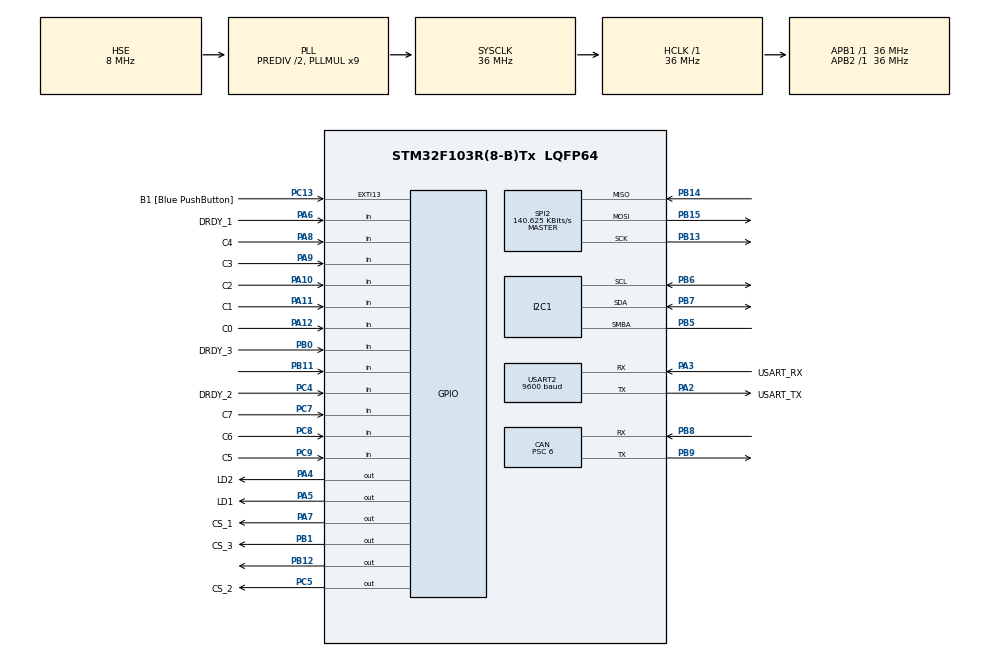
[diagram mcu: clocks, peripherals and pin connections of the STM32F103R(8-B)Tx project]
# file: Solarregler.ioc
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CAN.BS1=CAN_BS1_9TQ
CAN.BS2=CAN_BS2_2TQ
CAN.CalculateTimeBit=2000
CAN.CalculateTimeQuantum=166.66666666666669
CAN.Mode=CAN_MODE_NORMAL
CAN.Prescaler=6
Mcu.Family=STM32F1
Mcu.Name=STM32F103R(8-B)Tx
Mcu.Package=LQFP64
NVIC.CAN1_RX1_IRQn=true\:0\:0\:false\:false\:true\:true
NVIC.CAN1_SCE_IRQn=true\:0\:0\:false\:false\:true\:true
NVIC.PriorityGroup=NVIC_PRIORITYGROUP_4
NVIC.SPI2_IRQn=true\:0\:0\:false\:false\:true\:true
NVIC.TIM2_IRQn=true\:0\:0\:false\:false\:true\:true
NVIC.USART2_IRQn=true\:0\:0\:false\:false\:true\:true
NVIC.USB_HP_CAN1_TX_IRQn=true\:0\:0\:false\:false\:true\:true
NVIC.USB_LP_CAN1_RX0_IRQn=true\:0\:0\:false\:false\:true\:true
PA10.GPIO_Label=C2
PA10.GPIO_PuPd=GPIO_PULLUP
PA10.Signal=GPIO_Input
PA11.GPIO_Label=C1
PA11.GPIO_PuPd=GPIO_PULLUP
PA11.Signal=GPIO_Input
PA12.GPIO_Label=C0
PA12.GPIO_PuPd=GPIO_PULLUP
PA12.Signal=GPIO_Input
PA13.GPIO_Label=TMS
PA13.Mode=JTAG_5_pins
PA13.Signal=SYS_JTMS-SWDIO
PA14.GPIO_Label=TCK
PA14.Mode=JTAG_5_pins
PA14.Signal=SYS_JTCK-SWCLK
PA15.Mode=JTAG_5_pins
PA15.Signal=SYS_JTDI
PA2.GPIO_Label=USART_TX
PA2.GPIO_Mode=GPIO_MODE_AF_PP
PA2.GPIO_PuPd=GPIO_NOPULL
PA2.GPIO_Speed=GPIO_SPEED_FREQ_HIGH
PA2.Mode=Asynchronous
PA2.Signal=USART2_TX
PA3.GPIO_Label=USART_RX
PA3.GPIO_Mode=GPIO_MODE_AF_PP
PA3.GPIO_PuPd=GPIO_NOPULL
PA3.GPIO_Speed=GPIO_SPEED_FREQ_LOW
PA3.Mode=Asynchronous
PA3.Signal=USART2_RX
PA4.GPIO_Label=LD2
PA4.Signal=GPIO_Output
PA5.GPIO_Label=LD1
PA5.GPIO_ModeDefaultOutputPP=GPIO_MODE_OUTPUT_PP
PA5.GPIO_PuPd=GPIO_NOPULL
PA5.GPIO_Speed=GPIO_SPEED_FREQ_LOW
PA5.Signal=GPIO_Output
PA6.GPIO_Label=DRDY_1
PA6.Signal=GPIO_Input
PA7.GPIO_Label=CS_1
PA7.Signal=GPIO_Output
PA8.GPIO_Label=C4
PA8.GPIO_PuPd=GPIO_PULLUP
PA8.Signal=GPIO_Input
PA9.GPIO_Label=C3
PA9.GPIO_PuPd=GPIO_PULLUP
PA9.Signal=GPIO_Input
PB0.GPIO_Label=DRDY_3
PB0.Signal=GPIO_Input
PB1.GPIO_Label=CS_3
PB1.Signal=GPIO_Output
PB11.Signal=GPIO_Input
PB12.Signal=GPIO_Output
PB13.Mode=Full_Duplex_Master
PB13.Signal=SPI2_SCK
PB14.Mode=Full_Duplex_Master
PB14.Signal=SPI2_MISO
PB15.Mode=Full_Duplex_Master
PB15.Signal=SPI2_MOSI
PB3.GPIO_Label=SWO
PB3.Mode=JTAG_5_pins
PB3.Signal=SYS_JTDO-TRACESWO
PB4.Mode=JTAG_5_pins
PB4.Signal=SYS_NJTRST
PB5.Mode=SMBus-Alert-mode
PB5.Signal=I2C1_SMBA
PB6.Mode=SMBus-Alert-mode
PB6.Signal=I2C1_SCL
PB7.Mode=SMBus-Alert-mode
PB7.Signal=I2C1_SDA
PB8.Mode=Master
PB8.Signal=CAN_RX
PB9.Mode=Master
PB9.Signal=CAN_TX
PC13-TAMPER-RTC.GPIO_Label=B1 [Blue PushButton]
PC13-TAMPER-RTC.GPIO_PuPd=GPIO_NOPULL
PC13-TAMPER-RTC.Signal=GPXTI13
PC14-OSC32_IN.Mode=LSE-External-Oscillator
PC14-OSC32_IN.Signal=RCC_OSC32_IN
PC15-OSC32_OUT.Mode=LSE-External-Oscillator
PC15-OSC32_OUT.Signal=RCC_OSC32_OUT
PC4.GPIO_Label=DRDY_2
PC4.Signal=GPIO_Input
PC5.GPIO_Label=CS_2
PC5.Signal=GPIO_Output
PC7.GPIO_Label=C7
PC7.GPIO_PuPd=GPIO_PULLUP
PC7.Signal=GPIO_Input
PC8.GPIO_Label=C6
PC8.GPIO_PuPd=GPIO_PULLUP
PC8.Signal=GPIO_Input
PC9.GPIO_Label=C5
PC9.GPIO_PuPd=GPIO_PULLUP
PC9.Signal=GPIO_Input
PD0-OSC_IN.Mode=HSE-External-Clock-Source
PD0-OSC_IN.Signal=RCC_OSC_IN
PD1-OSC_OUT.Mode=HSE-External-Clock-Source
PD1-OSC_OUT.Signal=RCC_OSC_OUT
ProjectManager.HeapSize=0x200
ProjectManager.StackSize=0x400
ProjectManager.TargetToolchain=MDK-ARM V5
RCC.AHBFreq_Value=36000000
RCC.APB1Freq_Value=36000000
RCC.APB1TimFreq_Value=36000000
RCC.APB2Freq_Value=36000000
RCC.APB2TimFreq_Value=36000000
RCC.HCLKFreq_Value=36000000
RCC.HSEDivPLL=RCC_HSE_PREDIV_DIV2
RCC.PLLMUL=RCC_PLL_MUL9
RCC.PLLSourceVirtual=RCC_PLLSOURCE_HSE
RCC.RTCClockSelection=RCC_RTCCLKSOURCE_LSE
RCC.SYSCLKFreq_VALUE=36000000
RCC.SYSCLKSource=RCC_SYSCLKSOURCE_PLLCLK
RCC.USBFreq_Value=36000000
SPI2.BaudRatePrescaler=SPI_BAUDRATEPRESCALER_256
SPI2.CLKPhase=SPI_PHASE_2EDGE
SPI2.CLKPolarity=SPI_POLARITY_HIGH
SPI2.CRCCalculation=SPI_CRCCALCULATION_DISABLE
SPI2.CalculateBaudRate=140.625 KBits/s
SPI2.Direction=SPI_DIRECTION_2LINES
SPI2.Mode=SPI_MODE_MASTER
SPI2.VirtualType=VM_MASTER
TIM2.ClockDivision=TIM_CLOCKDIVISION_DIV1
TIM2.Period=65535
TIM2.Prescaler=4096
USART2.BaudRate=9600
USART2.Mode=MODE_TX_RX
USART2.VirtualMode=VM_ASYNC
USART2.WordLength=WORDLENGTH_8B
VP_RTC_No_RTC_Output.Mode=RTC_OUT_NO
VP_RTC_VS_RTC_Activate.Mode=RTC_Enabled
VP_TIM2_VS_ClockSourceINT.Mode=Internal
board=NUCLEO-F103RB

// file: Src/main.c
/**
  ******************************************************************************
  * @file           : main.c
  * @brief          : Main program body
  ******************************************************************************
  ** This notice applies to any and all portions of this file
  * that are not between comment pairs USER CODE BEGIN and
  * USER CODE END. Other portions of this file, whether
  * inserted by the user or by software development tools
  * are owned by their respective copyright owners.
  *
  * COPYRIGHT(c) 2018 STMicroelectronics
  *
  * Redistribution and use in source and binary forms, with or without modification,
  * are permitted provided that the following conditions are met:
  *   1. Redistributions of source code must retain the above copyright notice,
  *      this list of conditions and the following disclaimer.
  *   2. Redistributions in binary form must reproduce the above copyright notice,
  *      this list of conditions and the following disclaimer in the documentation
  *      and/or other materials provided with the distribution.
  *   3. Neither the name of STMicroelectronics nor the names of its contributors
  *      may be used to endorse or promote products derived from this software
  *      without specific prior written permission.
  *
  * THIS SOFTWARE IS PROVIDED BY THE COPYRIGHT HOLDERS AND CONTRIBUTORS "AS IS"
  * AND ANY EXPRESS OR IMPLIED WARRANTIES, INCLUDING, BUT NOT LIMITED TO, THE
  * IMPLIED WARRANTIES OF MERCHANTABILITY AND FITNESS FOR A PARTICULAR PURPOSE ARE
  * DISCLAIMED. IN NO EVENT SHALL THE COPYRIGHT HOLDER OR CONTRIBUTORS BE LIABLE
  * FOR ANY DIRECT, INDIRECT, INCIDENTAL, SPECIAL, EXEMPLARY, OR CONSEQUENTIAL
  * DAMAGES (INCLUDING, BUT NOT LIMITED TO, PROCUREMENT OF SUBSTITUTE GOODS OR
  * SERVICES; LOSS OF USE, DATA, OR PROFITS; OR BUSINESS INTERRUPTION) HOWEVER
  * CAUSED AND ON ANY THEORY OF LIABILITY, WHETHER IN CONTRACT, STRICT LIABILITY,
  * OR TORT (INCLUDING NEGLIGENCE OR OTHERWISE) ARISING IN ANY WAY OUT OF THE USE
  * OF THIS SOFTWARE, EVEN IF ADVISED OF THE POSSIBILITY OF SUCH DAMAGE.
  *
  ******************************************************************************
  */
#include "main.h"
#include "stm32f1xx_hal.h"

/* USER CODE BEGIN Includes */

#include "MAX31865.h"
#include "stdio.h"
#include "string.h"

/* USER CODE END Includes */

CAN_HandleTypeDef hcan;

RTC_HandleTypeDef hrtc;

SPI_HandleTypeDef hspi2;

TIM_HandleTypeDef htim2;

UART_HandleTypeDef huart2;

/* USER CODE BEGIN PV */
/* Private variables ---------------------------------------------------------*/

float temperaturSolar = 0.0;
float temperaturSens3 = 0.0;
float temperaturSolarMean = 0.0;
float temperaturBuffer = 0.0;
float temperaturBufferMean = 0.0;

float temperaturSolarMin = 50;
float temperaturBufferMax = 90;

float hysteresisON = 10.0;
float hysteresisOFF = 2.0;

float resistanceSolar = 0.0;
float resistanceBuffer  = 0.0;

MAX31865_TypeDef MAXSolar;
MAX31865_TypeDef MAXBuffer;
MAX31865_TypeDef MAXSens3;

uint8_t relaisState = 0;

uint8_t controllerActivated = 0;

uint8_t sens3Used = 0;

uint8_t sens3Solar = 0;

uint8_t sens3Buffer = 0;

float onTime = 0;

uint16_t CanBaseAdress = 0x120;

CanRxMsgTypeDef CanRx;
CanTxMsgTypeDef CanTx;
CAN_FilterConfTypeDef filterConfig;

/* USER CODE END PV */

void SystemClock_Config(void);
static void MX_GPIO_Init(void);
static void MX_USART2_UART_Init(void);
static void MX_SPI2_Init(void);
static void MX_CAN_Init(void);
static void MX_TIM2_Init(void);
static void MX_I2C1_Init(void);
static void MX_RTC_Init(void);

/* USER CODE BEGIN PFP */
/* Private function prototypes -----------------------------------------------*/

uint8_t readCanIdDip(void);

void serialize(float data, uint8_t * serial);

void reenableCanInterrupt(CAN_HandleTypeDef* hcan);

/* USER CODE END PFP */

int main(void)
{

  /* MCU Configuration----------------------------------------------------------*/

  /* Reset of all peripherals, Initializes the Flash interface and the Systick. */
  HAL_Init();

  /* Configure the system clock */
  SystemClock_Config();

  /* Initialize all configured peripherals */
  MX_GPIO_Init();
  MX_USART2_UART_Init();
  MX_SPI2_Init();
  MX_CAN_Init();
  MX_TIM2_Init();
  MX_I2C1_Init();
  MX_RTC_Init();
  /* USER CODE BEGIN 2 */

	// Initialization of the MAX PT100 Chips
	MAXSolar.SPI_Handle = &hspi2;
	MAXSolar.CS_Pin = CS_1_Pin;
	MAXSolar.CS_GPIOx = CS_1_GPIO_Port;
	MAXSolar.RDY_Pin = DRDY_1_Pin;
	MAXSolar.RDY_GPIOx = DRDY_1_GPIO_Port;
	MAXSolar.referenceResistor = 430.0;

	MAXSens3.SPI_Handle = &hspi2;
	MAXSens3.CS_Pin = CS_3_Pin;
	MAXSens3.CS_GPIOx = CS_3_GPIO_Port;
	MAXSens3.RDY_Pin = DRDY_3_Pin;
	MAXSens3.RDY_GPIOx = DRDY_3_GPIO_Port;
	MAXSens3.referenceResistor = 430.0;

	MAXBuffer.SPI_Handle = &hspi2;
	MAXBuffer.CS_Pin = CS_2_Pin;
	MAXBuffer.CS_GPIOx = CS_2_GPIO_Port;
	MAXBuffer.RDY_Pin = DRDY_2_Pin;
	MAXBuffer.RDY_GPIOx = DRDY_2_GPIO_Port;
	MAXBuffer.referenceResistor = 430.0;

	initialize(&MAXSolar, STANDARD_INIT);
	//initialize(&MAXSens3, STANDARD_INIT);
	initialize(&MAXBuffer, STANDARD_INIT);

	checkForFaults(&MAXSolar);
	//checkForFaults(&MAXSens3);
	checkForFaults(&MAXBuffer);

	/////////////////////////////////////////////////

	//CanBaseAdress = readCanIdDip();

	// Initialization of CAN Messages and Filter
	hcan.pTxMsg = &CanTx;
	hcan.pTxMsg->StdId = CanBaseAdress + 0x1;
	hcan.pTxMsg->ExtId = 0x0;
	hcan.pTxMsg->RTR = CAN_RTR_DATA;
	hcan.pTxMsg->IDE = CAN_ID_STD;
	hcan.pTxMsg->DLC = 5; //Datenmenge max 8

	hcan.pRxMsg = &CanRx;
	hcan.pRxMsg->IDE = CAN_ID_STD;
	hcan.pRxMsg->FIFONumber = CAN_FIFO0;
	hcan.pRxMsg->FMI = 1;

	filterConfig.FilterNumber = 1;
	filterConfig.FilterMode = CAN_FILTERMODE_IDMASK;
	filterConfig.FilterIdLow = (CanBaseAdress | 0x00F) << 5; // wegen Fehler? offset der ID um 5 Bits
	filterConfig.FilterIdHigh = (CanBaseAdress + 0x7) << 5;
	filterConfig.FilterMaskIdLow = (CanBaseAdress + 0xB) << 5;
	filterConfig.FilterMaskIdHigh = 0x0;
	filterConfig.FilterScale = CAN_FILTERSCALE_16BIT;
	filterConfig.FilterFIFOAssignment = CAN_FILTER_FIFO0;
	filterConfig.FilterActivation = ENABLE;
	filterConfig.BankNumber = 14;
	/////////////////////////////////////////////////

	// Setup Filter
	HAL_CAN_ConfigFilter(&hcan, &filterConfig);

	//Start Interrupt
	HAL_CAN_Receive_IT(&hcan, CAN_FIFO0);

	// Timer start
	HAL_TIM_Base_Start_IT(&htim2);

  /* USER CODE END 2 */

  /* Infinite loop */
  while (1)
  {

  }

}

void SystemClock_Config(void)
{

  RCC_OscInitTypeDef RCC_OscInitStruct;
  RCC_ClkInitTypeDef RCC_ClkInitStruct;
  RCC_PeriphCLKInitTypeDef PeriphClkInit;

    /**Initializes the CPU, AHB and APB busses clocks
    */
  RCC_OscInitStruct.OscillatorType = RCC_OSCILLATORTYPE_HSE|RCC_OSCILLATORTYPE_LSE;
  RCC_OscInitStruct.HSEState = RCC_HSE_BYPASS;
  RCC_OscInitStruct.HSEPredivValue = RCC_HSE_PREDIV_DIV2;
  RCC_OscInitStruct.LSEState = RCC_LSE_ON;
  RCC_OscInitStruct.HSIState = RCC_HSI_ON;
  RCC_OscInitStruct.PLL.PLLState = RCC_PLL_ON;
  RCC_OscInitStruct.PLL.PLLSource = RCC_PLLSOURCE_HSE;
  RCC_OscInitStruct.PLL.PLLMUL = RCC_PLL_MUL9;
  if (HAL_RCC_OscConfig(&RCC_OscInitStruct) != HAL_OK)
  {
    _Error_Handler(__FILE__, __LINE__);
  }

    /**Initializes the CPU, AHB and APB busses clocks
    */
  RCC_ClkInitStruct.ClockType = RCC_CLOCKTYPE_HCLK|RCC_CLOCKTYPE_SYSCLK
                              |RCC_CLOCKTYPE_PCLK1|RCC_CLOCKTYPE_PCLK2;
  RCC_ClkInitStruct.SYSCLKSource = RCC_SYSCLKSOURCE_PLLCLK;
  RCC_ClkInitStruct.AHBCLKDivider = RCC_SYSCLK_DIV1;
  RCC_ClkInitStruct.APB1CLKDivider = RCC_HCLK_DIV1;
  RCC_ClkInitStruct.APB2CLKDivider = RCC_HCLK_DIV1;

  if (HAL_RCC_ClockConfig(&RCC_ClkInitStruct, FLASH_LATENCY_1) != HAL_OK)
  {
    _Error_Handler(__FILE__, __LINE__);
  }

  PeriphClkInit.PeriphClockSelection = RCC_PERIPHCLK_RTC;
  PeriphClkInit.RTCClockSelection = RCC_RTCCLKSOURCE_LSE;
  if (HAL_RCCEx_PeriphCLKConfig(&PeriphClkInit) != HAL_OK)
  {
    _Error_Handler(__FILE__, __LINE__);
  }

    /**Configure the Systick interrupt time
    */
  HAL_SYSTICK_Config(HAL_RCC_GetHCLKFreq()/1000);

    /**Configure the Systick
    */
  HAL_SYSTICK_CLKSourceConfig(SYSTICK_CLKSOURCE_HCLK);

  /* SysTick_IRQn interrupt configuration */
  HAL_NVIC_SetPriority(SysTick_IRQn, 0, 0);
}

/* CAN init function */
static void MX_CAN_Init(void)
{

  hcan.Instance = CAN1;
  hcan.Init.Prescaler = 6;
  hcan.Init.Mode = CAN_MODE_NORMAL;
  hcan.Init.SJW = CAN_SJW_1TQ;
  hcan.Init.BS1 = CAN_BS1_9TQ;
  hcan.Init.BS2 = CAN_BS2_2TQ;
  hcan.Init.TTCM = DISABLE;
  hcan.Init.ABOM = DISABLE;
  hcan.Init.AWUM = DISABLE;
  hcan.Init.NART = DISABLE;
  hcan.Init.RFLM = DISABLE;
  hcan.Init.TXFP = DISABLE;
  if (HAL_CAN_Init(&hcan) != HAL_OK)
  {
    _Error_Handler(__FILE__, __LINE__);
  }

}

/* I2C1 init function */
static void MX_I2C1_Init(void)
{

}

/* RTC init function */
static void MX_RTC_Init(void)
{

  RTC_TimeTypeDef sTime;
  RTC_DateTypeDef DateToUpdate;

    /**Initialize RTC Only
    */
  hrtc.Instance = RTC;
  hrtc.Init.AsynchPrediv = RTC_AUTO_1_SECOND;
  hrtc.Init.OutPut = RTC_OUTPUTSOURCE_NONE;
  if (HAL_RTC_Init(&hrtc) != HAL_OK)
  {
    _Error_Handler(__FILE__, __LINE__);
  }

    /**Initialize RTC and set the Time and Date
    */
  sTime.Hours = 0x0;
  sTime.Minutes = 0x0;
  sTime.Seconds = 0x0;

  if (HAL_RTC_SetTime(&hrtc, &sTime, RTC_FORMAT_BCD) != HAL_OK)
  {
    _Error_Handler(__FILE__, __LINE__);
  }

  DateToUpdate.WeekDay = RTC_WEEKDAY_MONDAY;
  DateToUpdate.Month = RTC_MONTH_JANUARY;
  DateToUpdate.Date = 0x1;
  DateToUpdate.Year = 0x0;

  if (HAL_RTC_SetDate(&hrtc, &DateToUpdate, RTC_FORMAT_BCD) != HAL_OK)
  {
    _Error_Handler(__FILE__, __LINE__);
  }

}

/* SPI2 init function */
static void MX_SPI2_Init(void)
{

  /* SPI2 parameter configuration*/
  hspi2.Instance = SPI2;
  hspi2.Init.Mode = SPI_MODE_MASTER;
  hspi2.Init.Direction = SPI_DIRECTION_2LINES;
  hspi2.Init.DataSize = SPI_DATASIZE_8BIT;
  hspi2.Init.CLKPolarity = SPI_POLARITY_HIGH;
  hspi2.Init.CLKPhase = SPI_PHASE_2EDGE;
  hspi2.Init.NSS = SPI_NSS_SOFT;
  hspi2.Init.BaudRatePrescaler = SPI_BAUDRATEPRESCALER_256;
  hspi2.Init.FirstBit = SPI_FIRSTBIT_MSB;
  hspi2.Init.TIMode = SPI_TIMODE_DISABLE;
  hspi2.Init.CRCCalculation = SPI_CRCCALCULATION_DISABLE;
  hspi2.Init.CRCPolynomial = 10;
  if (HAL_SPI_Init(&hspi2) != HAL_OK)
  {
    _Error_Handler(__FILE__, __LINE__);
  }

}

/* TIM2 init function */
static void MX_TIM2_Init(void)
{

  TIM_ClockConfigTypeDef sClockSourceConfig;
  TIM_MasterConfigTypeDef sMasterConfig;

  htim2.Instance = TIM2;
  htim2.Init.Prescaler = 4096;
  htim2.Init.CounterMode = TIM_COUNTERMODE_UP;
  htim2.Init.Period = 65535;
  htim2.Init.ClockDivision = TIM_CLOCKDIVISION_DIV1;
  htim2.Init.AutoReloadPreload = TIM_AUTORELOAD_PRELOAD_DISABLE;
  if (HAL_TIM_Base_Init(&htim2) != HAL_OK)
  {
    _Error_Handler(__FILE__, __LINE__);
  }

  sClockSourceConfig.ClockSource = TIM_CLOCKSOURCE_INTERNAL;
  if (HAL_TIM_ConfigClockSource(&htim2, &sClockSourceConfig) != HAL_OK)
  {
    _Error_Handler(__FILE__, __LINE__);
  }

  sMasterConfig.MasterOutputTrigger = TIM_TRGO_RESET;
  sMasterConfig.MasterSlaveMode = TIM_MASTERSLAVEMODE_DISABLE;
  if (HAL_TIMEx_MasterConfigSynchronization(&htim2, &sMasterConfig) != HAL_OK)
  {
    _Error_Handler(__FILE__, __LINE__);
  }

}

/* USART2 init function */
static void MX_USART2_UART_Init(void)
{

  huart2.Instance = USART2;
  huart2.Init.BaudRate = 9600;
  huart2.Init.WordLength = UART_WORDLENGTH_8B;
  huart2.Init.StopBits = UART_STOPBITS_1;
  huart2.Init.Parity = UART_PARITY_NONE;
  huart2.Init.Mode = UART_MODE_TX_RX;
  huart2.Init.HwFlowCtl = UART_HWCONTROL_NONE;
  huart2.Init.OverSampling = UART_OVERSAMPLING_16;
  if (HAL_UART_Init(&huart2) != HAL_OK)
  {
    _Error_Handler(__FILE__, __LINE__);
  }

}

/** Configure pins as
        * Analog
        * Input
        * Output
        * EVENT_OUT
        * EXTI
     PB5   ------> I2C1_SMBA
     PB6   ------> I2C1_SCL
     PB7   ------> I2C1_SDA
*/
static void MX_GPIO_Init(void)
{

  GPIO_InitTypeDef GPIO_InitStruct;

  /* GPIO Ports Clock Enable */
  __HAL_RCC_GPIOC_CLK_ENABLE();
  __HAL_RCC_GPIOD_CLK_ENABLE();
  __HAL_RCC_GPIOA_CLK_ENABLE();
  __HAL_RCC_GPIOB_CLK_ENABLE();

  /*Configure GPIO pin Output Level */
  HAL_GPIO_WritePin(GPIOA, LD2_Pin|LD1_Pin|CS_1_Pin, GPIO_PIN_RESET);

  /*Configure GPIO pin Output Level */
  HAL_GPIO_WritePin(CS_2_GPIO_Port, CS_2_Pin, GPIO_PIN_RESET);

  /*Configure GPIO pin Output Level */
  HAL_GPIO_WritePin(GPIOB, CS_3_Pin|GPIO_PIN_12, GPIO_PIN_RESET);

  /*Configure GPIO pin : B1_Pin */
  GPIO_InitStruct.Pin = B1_Pin;
  GPIO_InitStruct.Mode = GPIO_MODE_IT_RISING;
  GPIO_InitStruct.Pull = GPIO_NOPULL;
  HAL_GPIO_Init(B1_GPIO_Port, &GPIO_InitStruct);

  /*Configure GPIO pins : LD2_Pin LD1_Pin CS_1_Pin */
  GPIO_InitStruct.Pin = LD2_Pin|LD1_Pin|CS_1_Pin;
  GPIO_InitStruct.Mode = GPIO_MODE_OUTPUT_PP;
  GPIO_InitStruct.Pull = GPIO_NOPULL;
  GPIO_InitStruct.Speed = GPIO_SPEED_FREQ_LOW;
  HAL_GPIO_Init(GPIOA, &GPIO_InitStruct);

  /*Configure GPIO pin : DRDY_1_Pin */
  GPIO_InitStruct.Pin = DRDY_1_Pin;
  GPIO_InitStruct.Mode = GPIO_MODE_INPUT;
  GPIO_InitStruct.Pull = GPIO_NOPULL;
  HAL_GPIO_Init(DRDY_1_GPIO_Port, &GPIO_InitStruct);

  /*Configure GPIO pin : DRDY_2_Pin */
  GPIO_InitStruct.Pin = DRDY_2_Pin;
  GPIO_InitStruct.Mode = GPIO_MODE_INPUT;
  GPIO_InitStruct.Pull = GPIO_NOPULL;
  HAL_GPIO_Init(DRDY_2_GPIO_Port, &GPIO_InitStruct);

  /*Configure GPIO pin : CS_2_Pin */
  GPIO_InitStruct.Pin = CS_2_Pin;
  GPIO_InitStruct.Mode = GPIO_MODE_OUTPUT_PP;
  GPIO_InitStruct.Pull = GPIO_NOPULL;
  GPIO_InitStruct.Speed = GPIO_SPEED_FREQ_LOW;
  HAL_GPIO_Init(CS_2_GPIO_Port, &GPIO_InitStruct);

  /*Configure GPIO pins : DRDY_3_Pin PB11 */
  GPIO_InitStruct.Pin = DRDY_3_Pin|GPIO_PIN_11;
  GPIO_InitStruct.Mode = GPIO_MODE_INPUT;
  GPIO_InitStruct.Pull = GPIO_NOPULL;
  HAL_GPIO_Init(GPIOB, &GPIO_InitStruct);

  /*Configure GPIO pins : CS_3_Pin PB12 */
  GPIO_InitStruct.Pin = CS_3_Pin|GPIO_PIN_12;
  GPIO_InitStruct.Mode = GPIO_MODE_OUTPUT_PP;
  GPIO_InitStruct.Pull = GPIO_NOPULL;
  GPIO_InitStruct.Speed = GPIO_SPEED_FREQ_LOW;
  HAL_GPIO_Init(GPIOB, &GPIO_InitStruct);

  /*Configure GPIO pins : C7_Pin C6_Pin C5_Pin */
  GPIO_InitStruct.Pin = C7_Pin|C6_Pin|C5_Pin;
  GPIO_InitStruct.Mode = GPIO_MODE_INPUT;
  GPIO_InitStruct.Pull = GPIO_PULLUP;
  HAL_GPIO_Init(GPIOC, &GPIO_InitStruct);

  /*Configure GPIO pins : C4_Pin C3_Pin C2_Pin C1_Pin
                           C0_Pin */
  GPIO_InitStruct.Pin = C4_Pin|C3_Pin|C2_Pin|C1_Pin
                          |C0_Pin;
  GPIO_InitStruct.Mode = GPIO_MODE_INPUT;
  GPIO_InitStruct.Pull = GPIO_PULLUP;
  HAL_GPIO_Init(GPIOA, &GPIO_InitStruct);

  /*Configure GPIO pins : PB5 PB6 PB7 */
  GPIO_InitStruct.Pin = GPIO_PIN_5|GPIO_PIN_6|GPIO_PIN_7;
  GPIO_InitStruct.Mode = GPIO_MODE_AF_OD;
  GPIO_InitStruct.Speed = GPIO_SPEED_FREQ_HIGH;
  HAL_GPIO_Init(GPIOB, &GPIO_InitStruct);

}

/* USER CODE BEGIN 4 */

uint8_t readCanIdDip(){

	uint8_t canIdDip;

	// read in the individual DIP ID Pins
	canIdDip = (HAL_GPIO_ReadPin(C0_GPIO_Port, C0_Pin) << 0) | (HAL_GPIO_ReadPin(C1_GPIO_Port, C1_Pin) << 1) | (HAL_GPIO_ReadPin(C2_GPIO_Port, C2_Pin) << 2) | (HAL_GPIO_ReadPin(C3_GPIO_Port, C3_Pin) << 3);
	canIdDip |= (HAL_GPIO_ReadPin(C4_GPIO_Port, C4_Pin) << 4) | (HAL_GPIO_ReadPin(C5_GPIO_Port, C5_Pin) << 5) | (HAL_GPIO_ReadPin(C6_GPIO_Port, C6_Pin) << 6) | (HAL_GPIO_ReadPin(C7_GPIO_Port, C7_Pin) << 7);

	return canIdDip;
}

void HAL_CAN_RxCpltCallback(CAN_HandleTypeDef* hcan){

if(hcan->pRxMsg->StdId == (CanBaseAdress + MESSAGE_TRIGGER_OFFSET)){

		if(sens3Used == 0){

		hcan->pTxMsg->StdId = (CanBaseAdress + SENS_1_OFFSET);
		hcan->pTxMsg->DLC = 5;
		hcan->pTxMsg->Data[0] = MAXSolar.faultDetected;
		serialize(temperaturSolar, &(hcan->pTxMsg->Data[1]));
		HAL_CAN_Transmit(hcan, 10);

		} else {

		if(sens3Solar && !sens3Buffer){

		hcan->pTxMsg->StdId = (CanBaseAdress + SENS_1_OFFSET);
		hcan->pTxMsg->DLC = 5;
		hcan->pTxMsg->Data[0] = MAXSolar.faultDetected | MAXSens3.faultDetected;
		serialize(temperaturSolarMean, &(hcan->pTxMsg->Data[1]));
		HAL_CAN_Transmit(hcan, 10);

			}	else {

		if(sens3Buffer && !sens3Solar){

		hcan->pTxMsg->StdId = (CanBaseAdress + SENS_1_OFFSET);
		hcan->pTxMsg->DLC = 5;
		hcan->pTxMsg->Data[0] = MAXBuffer.faultDetected | MAXSens3.faultDetected;
		serialize(temperaturBufferMean, &(hcan->pTxMsg->Data[1]));
		HAL_CAN_Transmit(hcan, 10);

				}
			}
		}

		hcan->pTxMsg->StdId = (CanBaseAdress + SENS_2_OFFSET);
		hcan->pTxMsg->DLC = 5;
		hcan->pTxMsg->Data[0] = MAXBuffer.faultDetected ;
		serialize(temperaturBuffer, &(hcan->pTxMsg->Data[1]));
		HAL_CAN_Transmit(hcan, 10);

		hcan->pTxMsg->StdId = (CanBaseAdress + SCHWELLE_AN_AUS_OFFSET);
		hcan->pTxMsg->DLC = 8;
		serialize(hysteresisON, &(hcan->pTxMsg->Data[0]));
		serialize(hysteresisOFF, &(hcan->pTxMsg->Data[4]));
		HAL_CAN_Transmit(hcan, 10);

		hcan->pTxMsg->StdId = (CanBaseAdress + INFO_RELAIS_OFFSET);
		hcan->pTxMsg->DLC = 1;
	  hcan->pTxMsg->Data[0] = relaisState;
		HAL_CAN_Transmit(hcan, 10);

		hcan->pTxMsg->StdId = (CanBaseAdress + TEMPERATUR_MIN_MAX_OFFSET);
		hcan->pTxMsg->DLC = 8;
		serialize(temperaturBufferMax, &(hcan->pTxMsg->Data[0]));
		serialize(temperaturSolarMin, &(hcan->pTxMsg->Data[4]));
		HAL_CAN_Transmit(hcan, 10);

		hcan->pTxMsg->StdId = (CanBaseAdress + REGLER_AKTIV_OFFSET);
		hcan->pTxMsg->DLC = 1;
	  hcan->pTxMsg->Data[0] = *((uint8_t *) &controllerActivated);
		HAL_CAN_Transmit(hcan, 10);

		hcan->pTxMsg->StdId = (CanBaseAdress + KORREKTUR_WIDERSTAND_OFFSET);
		hcan->pTxMsg->DLC = 8;
		serialize(resistanceSolar, &(hcan->pTxMsg->Data[0]));
		serialize(resistanceBuffer, &(hcan->pTxMsg->Data[4]));
		HAL_CAN_Transmit(hcan, 10);

		hcan->pTxMsg->StdId = (CanBaseAdress + ON_TIME_OFFSET);
		hcan->pTxMsg->DLC = 4;
		serialize(onTime, &(hcan->pTxMsg->Data[0]));
		HAL_CAN_Transmit(hcan, 10);

}

if(hcan->pRxMsg->StdId == (CanBaseAdress + SET_SCHWELLE_AN_AUS_OFFSET)){
	float tmpON;
	float tmpOFF;
	uint8_t * ON = (uint8_t *) &tmpON;
	uint8_t * OFF = (uint8_t *) &tmpOFF;

	*ON = hcan->pRxMsg->Data[0];
	*(ON + 1) = hcan->pRxMsg->Data[1];
	*(ON + 2) = hcan->pRxMsg->Data[2];
	*(ON + 3) = hcan->pRxMsg->Data[3];

	*OFF = hcan->pRxMsg->Data[4];
	*(OFF + 1) = hcan->pRxMsg->Data[5];
	*(OFF + 2) = hcan->pRxMsg->Data[6];
	*(OFF + 3) = hcan->pRxMsg->Data[7];

	if(tmpON <= MAX_ADJUSTABLE_TEMPERATURE && tmpON >= MIN_ADJUSTABLE_TEMPERATURE){
		hysteresisON = tmpON;
	} else {
		if(tmpON > MAX_ADJUSTABLE_TEMPERATURE){
			hysteresisON = MAX_ADJUSTABLE_TEMPERATURE;
		}
		if(tmpON < MIN_ADJUSTABLE_TEMPERATURE){
			hysteresisON = MIN_ADJUSTABLE_TEMPERATURE;
		}
	}

	if(tmpOFF <= MAX_ADJUSTABLE_TEMPERATURE && tmpOFF >= MIN_ADJUSTABLE_TEMPERATURE){
		hysteresisOFF = tmpOFF;
	} else {
		if(tmpOFF > MAX_ADJUSTABLE_TEMPERATURE){
			hysteresisOFF = MAX_ADJUSTABLE_TEMPERATURE;
		}
		if(tmpOFF < MIN_ADJUSTABLE_TEMPERATURE){
			hysteresisOFF = MIN_ADJUSTABLE_TEMPERATURE;
		}
	}

		hcan->pTxMsg->StdId = (CanBaseAdress + SCHWELLE_AN_AUS_OFFSET);
		hcan->pTxMsg->DLC = 8;
		serialize(hysteresisON, &(hcan->pTxMsg->Data[0]));
		serialize(hysteresisOFF, &(hcan->pTxMsg->Data[4]));
		HAL_CAN_Transmit(hcan, 10);

}

if(hcan->pRxMsg->StdId == (CanBaseAdress + SET_TEMPERATUR_MIN_MAX_OFFSET)){
	float tmpMAX;
	float tmpMIN;
	uint8_t * MAX = (uint8_t *) &tmpMAX;
	uint8_t * MIN = (uint8_t *) &tmpMIN;

	*MAX = hcan->pRxMsg->Data[0];
	*(MAX + 1) = hcan->pRxMsg->Data[1];
	*(MAX + 2) = hcan->pRxMsg->Data[2];
	*(MAX + 3) = hcan->pRxMsg->Data[3];

	*MIN = hcan->pRxMsg->Data[4];
	*(MIN + 1) = hcan->pRxMsg->Data[5];
	*(MIN + 2) = hcan->pRxMsg->Data[6];
	*(MIN + 3) = hcan->pRxMsg->Data[7];

		if(tmpMAX <= MAX_ADJUSTABLE_TEMPERATURE && tmpMAX >= MIN_ADJUSTABLE_TEMPERATURE){
		temperaturBufferMax = tmpMAX;
		} else {
		if(tmpMAX > MAX_ADJUSTABLE_TEMPERATURE){
			temperaturBufferMax = MAX_ADJUSTABLE_TEMPERATURE;
		}
		if(tmpMAX < MIN_ADJUSTABLE_TEMPERATURE){
			temperaturBufferMax = MIN_ADJUSTABLE_TEMPERATURE;
		}
	}

		if(tmpMIN <= MAX_ADJUSTABLE_TEMPERATURE && tmpMIN >= MIN_ADJUSTABLE_TEMPERATURE){
		temperaturSolarMin = tmpMIN;
		} else {
		if(tmpMIN > MAX_ADJUSTABLE_TEMPERATURE){
			temperaturSolarMin = MAX_ADJUSTABLE_TEMPERATURE;
		}
		if(tmpMIN < MIN_ADJUSTABLE_TEMPERATURE){
			temperaturSolarMin = MIN_ADJUSTABLE_TEMPERATURE;
		}
	}

		hcan->pTxMsg->StdId = (CanBaseAdress + TEMPERATUR_MIN_MAX_OFFSET);
		hcan->pTxMsg->DLC = 8;
		serialize(temperaturBufferMax, &(hcan->pTxMsg->Data[0]));
		serialize(temperaturSolarMin, &(hcan->pTxMsg->Data[4]));
		HAL_CAN_Transmit(hcan, 10);

}

if(hcan->pRxMsg->StdId == (CanBaseAdress + SET_REGLER_AKTIV_OFFSET)){

	controllerActivated = hcan->pRxMsg->Data[0];

		hcan->pTxMsg->StdId = (CanBaseAdress + 0x6);
		hcan->pTxMsg->DLC = 1;
	  hcan->pTxMsg->Data[0] = *((uint8_t *) &controllerActivated);
		HAL_CAN_Transmit(hcan, 10);

}

if(hcan->pRxMsg->StdId == (CanBaseAdress + SET_KORREKTUR_WIDERSTAND_OFFSET)){

	uint8_t * SOL = (uint8_t *) &resistanceSolar;
	uint8_t * BUF = (uint8_t *) &resistanceBuffer;

	*SOL = hcan->pRxMsg->Data[0];
	*(SOL + 1) = hcan->pRxMsg->Data[1];
	*(SOL + 2) = hcan->pRxMsg->Data[2];
	*(SOL + 3) = hcan->pRxMsg->Data[3];

	*BUF = hcan->pRxMsg->Data[4];
	*(BUF + 1) = hcan->pRxMsg->Data[5];
	*(BUF + 2) = hcan->pRxMsg->Data[6];
	*(BUF + 3) = hcan->pRxMsg->Data[7];

	hcan->pTxMsg->StdId = (CanBaseAdress + KORREKTUR_WIDERSTAND_OFFSET);
	hcan->pTxMsg->DLC = 8;
	serialize(resistanceSolar, &(hcan->pTxMsg->Data[0]));
	serialize(resistanceBuffer, &(hcan->pTxMsg->Data[4]));
	HAL_CAN_Transmit(hcan, 10);

}

if(hcan->pRxMsg->StdId == (CanBaseAdress + SET_SENS_3_STATUS_OFFSET)){

	sens3Used = hcan->pRxMsg->Data[0];
	sens3Buffer = hcan->pRxMsg->Data[1];
	sens3Solar = hcan->pRxMsg->Data[2];

}

	reenableCanInterrupt(hcan);

}

void reenableCanInterrupt(CAN_HandleTypeDef* hcan){

		if(hcan->State == HAL_CAN_STATE_BUSY_TX){
			hcan->State = HAL_CAN_STATE_BUSY_TX_RX0;
		} else {
			hcan->State = HAL_CAN_STATE_BUSY_RX0;
			hcan->ErrorCode = HAL_CAN_ERROR_NONE;

			__HAL_CAN_ENABLE_IT(hcan, CAN_IT_EWG);
			__HAL_CAN_ENABLE_IT(hcan, CAN_IT_EPV);
			__HAL_CAN_ENABLE_IT(hcan, CAN_IT_BOF);
			__HAL_CAN_ENABLE_IT(hcan, CAN_IT_LEC);
			__HAL_CAN_ENABLE_IT(hcan, CAN_IT_ERR);
			__HAL_CAN_ENABLE_IT(hcan, CAN_IT_EWG);

	}

	__HAL_CAN_ENABLE_IT(hcan, CAN_IT_FMP0);

}

void serialize(float data, uint8_t * serial){

		*serial = *((uint8_t *) &data);
		*(serial + 1) = *(((uint8_t *) &data) + 1);
		*(serial + 2) = *(((uint8_t *) &data) + 2);
		*(serial + 3) = *(((uint8_t *) &data) + 3);

}

/* USER CODE END 4 */

void _Error_Handler(char *file, int line)
{
  while(1)
  {
  }
}

/************************ (C) COPYRIGHT STMicroelectronics *****END OF FILE****/
